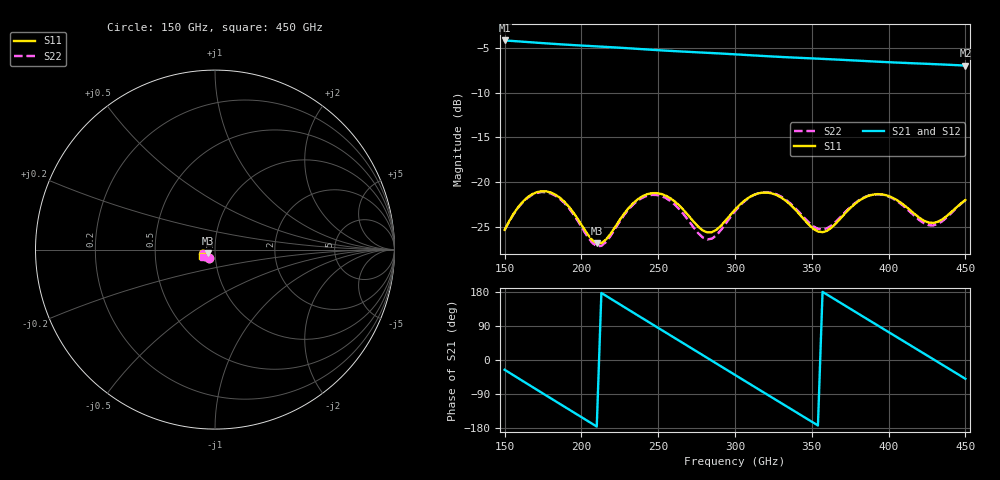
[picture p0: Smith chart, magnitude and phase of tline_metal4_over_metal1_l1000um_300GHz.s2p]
#  GHZ S DB R 50
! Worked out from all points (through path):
!   101 points, 150 GHz to 450 GHz, reference 50 ohm
!   highest |S21| = -4.17 dB at 150 GHz (marker M1); lowest = -7.0 dB at 450 GHz (marker M2)
!   group delay of S21, straight-line fit = 6.88 ps
!   lowest |S11| = -26.8 dB at 210 GHz (marker M3), VSWR 1.10, Z = 46 - j1.7 ohm
!   |S11| at or under -10 dB: start of sweep to end of sweep
!   |S22| runs from -27.1 to -21.1 dB; largest |S21 - S12| = 6.5e-14
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150  -25.31 -124.4  -4.17 -25.7  -4.17 -25.7  -25.33 -125.5
162  -22.13 -130.9  -4.32 -55.9  -4.32 -55.9  -22.20 -131.8
174  -21.00 -146.8  -4.46 -85.9  -4.46 -85.9  -21.09 -147.8
186  -21.72 -162.7  -4.60 -115.8  -4.60 -115.8  -21.85 -163.8
201  -25.00 -169.6  -4.75 -153.2  -4.75 -153.2  -25.25 -170.7
210  -26.81 -156.1  -4.84 -175.6  -4.84 -175.6  -27.13 -156.4
222  -24.97 -136.4  -4.95 154.4  -4.95 154.4  -25.17 -136.1
234  -22.28 -139.7  -5.08 124.5  -5.08 124.5  -22.43 -139.9
252  -21.30 -159.3  -5.28 79.7  -5.28 79.7  -21.54 -160.1
276  -24.94 -167.4  -5.50 20.3  -5.50 20.3  -25.66 -167.2
285  -25.57 -154.6  -5.58 -2.1  -5.58 -2.1  -26.28 -151.3
300  -23.05 -144.2  -5.72 -39.3  -5.72 -39.3  -23.23 -139.9
312  -21.42 -152.1  -5.84 -69.1  -5.84 -69.1  -21.44 -148.6
324  -21.24 -164.2  -5.96 -98.7  -5.96 -98.7  -21.17 -161.2
336  -22.49 -173.7  -6.06 -128.3  -6.06 -128.3  -22.35 -171.0
351  -25.19 -169.1  -6.18 -165.4  -6.18 -165.4  -24.91 -167.2
366  -24.54 -149.3  -6.30 157.5  -6.30 157.5  -24.33 -149.0
381  -22.03 -150.8  -6.44 120.5  -6.44 120.5  -21.97 -150.7
402  -21.67 -168.0  -6.62 68.8  -6.62 68.8  -21.74 -168.0
426  -24.49 -165.0  -6.79 9.6  -6.79 9.6  -24.79 -163.4
438  -23.74 -153.4  -6.88 -20.0  -6.88 -20.0  -23.90 -150.5
450  -21.98 -153.3  -6.98 -49.6  -6.98 -49.6  -21.98 -150.3
